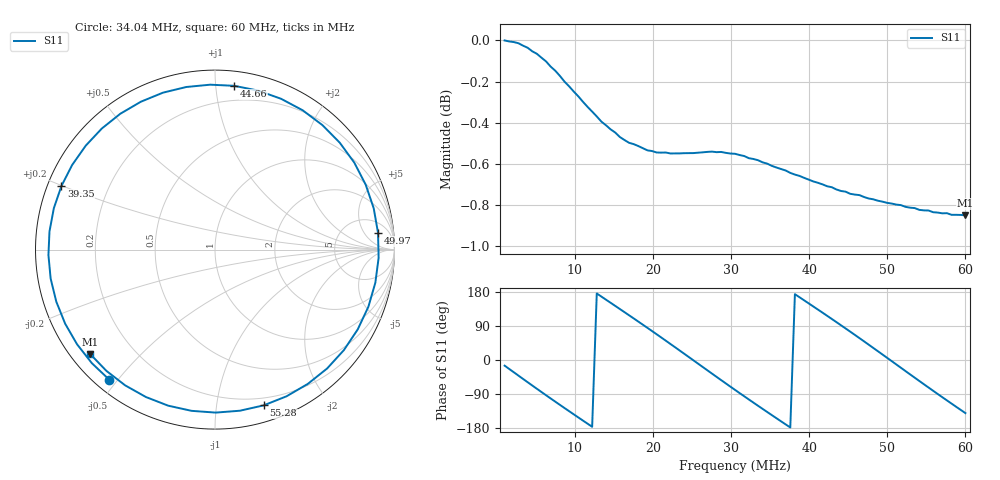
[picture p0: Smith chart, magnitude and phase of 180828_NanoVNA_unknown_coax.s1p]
! File created by NanoVNA (https://gen111.taobao.com/)
! Start 1000000Hz  Stop 60000000Hz  Points 101
# HZ S MA R 50
!S - Parameter data, F S11
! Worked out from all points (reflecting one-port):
!   101 points, 1 MHz to 60 MHz, reference 50 ohm
!   lowest |S11| = -0.9 dB at 60 MHz (marker M1), VSWR 20.45, Z = 2.77 - j18.1 ohm
!   phase of S11 starts at -15 deg and turns -845 deg over the sweep
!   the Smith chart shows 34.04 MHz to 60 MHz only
!   S11 on the Smith chart (normalised r, x): 34.04 MHz: 0.04, -0.48; 39.35 MHz: 0.04, +0.20; 44.66 MHz: 0.10, +1.12; 49.97 MHz: 10, +11; 55.28 MHz: 0.14, -1.35; 60 MHz: 0.06, -0.36
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1000000  1 -14.9
3360000  0.9971 -49.9
5130000  0.9926 -75.9
6900000  0.9855 -101.6
8670000  0.9772 -126.8
1.221e7  0.961 -176.3
1.575e7  0.9474 134.6
1.752e7  0.9436 109.8
1.929e7  0.9403 84.8
2.106e7  0.9392 59.3
2.342e7  0.9388 25.0
2.519e7  0.9389 -1.1
2.696e7  0.9395 -27.2
3.05e7  0.9385 -78.8
3.227e7  0.9362 -104.1
3.404e7  0.9341 -129.0
3.64e7  0.9306 -161.9
3.817e7  0.9277 173.7
3.935e7  0.926 157.5
4.23e7  0.9216 116.6
4.466e7  0.9189 83.3
4.525e7  0.9178 74.8
4.761e7  0.9154 40.6
4.997e7  0.9131 5.8
5.292e7  0.9107 -37.9
5.528e7  0.9092 -72.6
5.764e7  0.9079 -106.7
6e7  0.9068 -140.1
